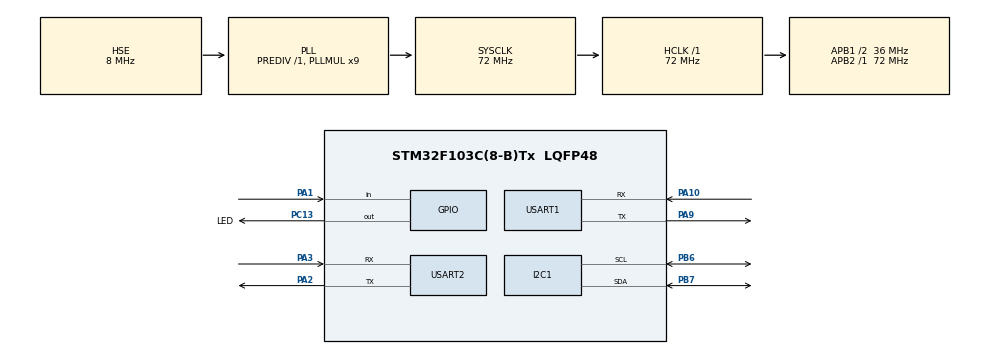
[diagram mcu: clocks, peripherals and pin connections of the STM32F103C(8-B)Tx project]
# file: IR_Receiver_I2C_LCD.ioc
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Mcu.Family=STM32F1
Mcu.Name=STM32F103C(8-B)Tx
Mcu.Package=LQFP48
NVIC.PriorityGroup=NVIC_PRIORITYGROUP_4
PA1.Signal=GPIO_Input
PA10.Mode=Asynchronous
PA10.Signal=USART1_RX
PA13.Mode=Serial_Wire
PA13.Signal=SYS_JTMS-SWDIO
PA14.Mode=Serial_Wire
PA14.Signal=SYS_JTCK-SWCLK
PA2.Mode=Asynchronous
PA2.Signal=USART2_TX
PA3.Mode=Asynchronous
PA3.Signal=USART2_RX
PA9.Mode=Asynchronous
PA9.Signal=USART1_TX
PB6.Mode=I2C
PB6.Signal=I2C1_SCL
PB7.Mode=I2C
PB7.Signal=I2C1_SDA
PC13-TAMPER-RTC.GPIO_Label=LED
PC13-TAMPER-RTC.Signal=GPIO_Output
PD0-OSC_IN.Mode=HSE-External-Oscillator
PD0-OSC_IN.Signal=RCC_OSC_IN
PD1-OSC_OUT.Mode=HSE-External-Oscillator
PD1-OSC_OUT.Signal=RCC_OSC_OUT
ProjectManager.HeapSize=0x200
ProjectManager.StackSize=0x400
ProjectManager.TargetToolchain=SW4STM32
RCC.AHBFreq_Value=72000000
RCC.APB1CLKDivider=RCC_HCLK_DIV2
RCC.APB1Freq_Value=36000000
RCC.APB1TimFreq_Value=72000000
RCC.APB2Freq_Value=72000000
RCC.APB2TimFreq_Value=72000000
RCC.HCLKFreq_Value=72000000
RCC.PLLMUL=RCC_PLL_MUL9
RCC.PLLSourceVirtual=RCC_PLLSOURCE_HSE
RCC.SYSCLKFreq_VALUE=72000000
RCC.SYSCLKSource=RCC_SYSCLKSOURCE_PLLCLK
RCC.USBFreq_Value=72000000
USART1.VirtualMode=VM_ASYNC
USART2.VirtualMode=VM_ASYNC
board=custom

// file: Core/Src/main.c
/* USER CODE BEGIN Header */
/**
  ******************************************************************************
  * @file           : main.c
  * @brief          : Main program body
  ******************************************************************************
  * @attention
  *
  * <h2><center>&copy; Copyright (c) 2021 STMicroelectronics.
  * All rights reserved.</center></h2>
  *
  * This software component is licensed by ST under BSD 3-Clause license,
  * the "License"; You may not use this file except in compliance with the
  * License. You may obtain a copy of the License at:
  *                        opensource.org/licenses/BSD-3-Clause
  *
  ******************************************************************************
  */
/* USER CODE END Header */
#include "main.h"

/* USER CODE BEGIN Includes */
//#include "i2c-lcd.h"
#include "dwt_stm32_delay.h"
#include "lcd_userConf.h"
#include "lcd_i2cModule.h"
#include "ESP8266_HAL.h"

/* USER CODE END Includes */

I2C_HandleTypeDef hi2c1;

UART_HandleTypeDef huart1;
UART_HandleTypeDef huart2;

void SystemClock_Config(void);
static void MX_GPIO_Init(void);
static void MX_I2C1_Init(void);
static void MX_USART2_UART_Init(void);
static void MX_USART1_UART_Init(void);

/* USER CODE BEGIN 0 */

uint32_t IR = 0;
uint8_t count = 0;

uint32_t receive_data (void)
{
	uint32_t code=0;

		  /* The START Sequence begin here
	   * there will be a pulse of 9ms LOW and
	   * than 4.5 ms space (HIGH)
	   */
	  while (!(HAL_GPIO_ReadPin (GPIOA, GPIO_PIN_1)));  // wait for the pin to go high.. 9ms LOW

	  while ((HAL_GPIO_ReadPin (GPIOA, GPIO_PIN_1)));  // wait for the pin to go low.. 4.5ms HIGH

	  /* START of FRAME ends here*/

	  /* DATA Reception
	   * We are only going to check the SPACE after 562.5us pulse
	   * if the space is 562.5us, the bit indicates '0'
	   * if the space is around 1.6ms, the bit is '1'
	   */

	  for (int i=0; i<32; i++)
	  {
		  count=0;

		  while (!(HAL_GPIO_ReadPin (GPIOA, GPIO_PIN_1))); // wait for pin to go high.. this is 562.5us LOW

		  while ((HAL_GPIO_ReadPin (GPIOA, GPIO_PIN_1)))  // count the space length while the pin is high
		  {
			  count++;
			  DWT_Delay_us(100);
		  }

		  if (count > 12) // if the space is more than 1.2 ms
		  {
			  code |= (1UL << (31-i));   // write 1
		  }

		  else code &= ~(1UL << (31-i));  // write 0
	  }

		return code;
}

void convert_code (uint32_t code)
{
	LCD_SetCursor(1,1);
	char buffer[20];
	IR = code;
	sprintf(buffer,"Code = %X ",code);
	LCD_Send_String(buffer,STR_NOSLIDE);
	LCD_SetCursor(2,1);

}

uint32_t data;

/* USER CODE END 0 */

int main(void)
{

  /* MCU Configuration--------------------------------------------------------*/

  /* Reset of all peripherals, Initializes the Flash interface and the Systick. */
  HAL_Init();

  /* Configure the system clock */
  SystemClock_Config();

  /* Initialize all configured peripherals */
  MX_GPIO_Init();
  MX_I2C1_Init();
  MX_USART2_UART_Init();
  MX_USART1_UART_Init();
  /* USER CODE BEGIN 2 */
  ESP_Init("ORBI07","LMlm5m**");
  DWT_Delay_Init();
  LCD_Init();
  LCD_i2cDeviceCheck();
  LCD_BackLight(LCD_BL_ON);
  LCD_SetCursor(1,1);
  LCD_Send_String("IR DECODER",STR_NOSLIDE);

  /* USER CODE END 2 */

  /* Infinite loop */
  while (1)
  {

    /* USER CODE BEGIN 3 */
	  while(HAL_GPIO_ReadPin(GPIOA,GPIO_PIN_1))
	  {
		  Server_Start();//wachten tot de pin laag wordt
	  }

	  data = receive_data();
	  convert_code(data); 	//converteerd de hex naar een waarde

	  LCD_Clear();
  }
  /* USER CODE END 3 */
}

void SystemClock_Config(void)
{
  RCC_OscInitTypeDef RCC_OscInitStruct = {0};
  RCC_ClkInitTypeDef RCC_ClkInitStruct = {0};

  /** Initializes the RCC Oscillators according to the specified parameters
  * in the RCC_OscInitTypeDef structure.
  */
  RCC_OscInitStruct.OscillatorType = RCC_OSCILLATORTYPE_HSE;
  RCC_OscInitStruct.HSEState = RCC_HSE_ON;
  RCC_OscInitStruct.HSEPredivValue = RCC_HSE_PREDIV_DIV1;
  RCC_OscInitStruct.HSIState = RCC_HSI_ON;
  RCC_OscInitStruct.PLL.PLLState = RCC_PLL_ON;
  RCC_OscInitStruct.PLL.PLLSource = RCC_PLLSOURCE_HSE;
  RCC_OscInitStruct.PLL.PLLMUL = RCC_PLL_MUL9;
  if (HAL_RCC_OscConfig(&RCC_OscInitStruct) != HAL_OK)
  {
    Error_Handler();
  }
  /** Initializes the CPU, AHB and APB buses clocks
  */
  RCC_ClkInitStruct.ClockType = RCC_CLOCKTYPE_HCLK|RCC_CLOCKTYPE_SYSCLK
                              |RCC_CLOCKTYPE_PCLK1|RCC_CLOCKTYPE_PCLK2;
  RCC_ClkInitStruct.SYSCLKSource = RCC_SYSCLKSOURCE_PLLCLK;
  RCC_ClkInitStruct.AHBCLKDivider = RCC_SYSCLK_DIV1;
  RCC_ClkInitStruct.APB1CLKDivider = RCC_HCLK_DIV2;
  RCC_ClkInitStruct.APB2CLKDivider = RCC_HCLK_DIV1;

  if (HAL_RCC_ClockConfig(&RCC_ClkInitStruct, FLASH_LATENCY_2) != HAL_OK)
  {
    Error_Handler();
  }
}

static void MX_I2C1_Init(void)
{

  hi2c1.Instance = I2C1;
  hi2c1.Init.ClockSpeed = 100000;
  hi2c1.Init.DutyCycle = I2C_DUTYCYCLE_2;
  hi2c1.Init.OwnAddress1 = 0;
  hi2c1.Init.AddressingMode = I2C_ADDRESSINGMODE_7BIT;
  hi2c1.Init.DualAddressMode = I2C_DUALADDRESS_DISABLE;
  hi2c1.Init.OwnAddress2 = 0;
  hi2c1.Init.GeneralCallMode = I2C_GENERALCALL_DISABLE;
  hi2c1.Init.NoStretchMode = I2C_NOSTRETCH_DISABLE;
  if (HAL_I2C_Init(&hi2c1) != HAL_OK)
  {
    Error_Handler();
  }

}

static void MX_USART1_UART_Init(void)
{

  huart1.Instance = USART1;
  huart1.Init.BaudRate = 115200;
  huart1.Init.WordLength = UART_WORDLENGTH_8B;
  huart1.Init.StopBits = UART_STOPBITS_1;
  huart1.Init.Parity = UART_PARITY_NONE;
  huart1.Init.Mode = UART_MODE_TX_RX;
  huart1.Init.HwFlowCtl = UART_HWCONTROL_NONE;
  huart1.Init.OverSampling = UART_OVERSAMPLING_16;
  if (HAL_UART_Init(&huart1) != HAL_OK)
  {
    Error_Handler();
  }

}

static void MX_USART2_UART_Init(void)
{

  huart2.Instance = USART2;
  huart2.Init.BaudRate = 115200;
  huart2.Init.WordLength = UART_WORDLENGTH_8B;
  huart2.Init.StopBits = UART_STOPBITS_1;
  huart2.Init.Parity = UART_PARITY_NONE;
  huart2.Init.Mode = UART_MODE_TX_RX;
  huart2.Init.HwFlowCtl = UART_HWCONTROL_NONE;
  huart2.Init.OverSampling = UART_OVERSAMPLING_16;
  if (HAL_UART_Init(&huart2) != HAL_OK)
  {
    Error_Handler();
  }

}

static void MX_GPIO_Init(void)
{
  GPIO_InitTypeDef GPIO_InitStruct = {0};

  /* GPIO Ports Clock Enable */
  __HAL_RCC_GPIOC_CLK_ENABLE();
  __HAL_RCC_GPIOD_CLK_ENABLE();
  __HAL_RCC_GPIOA_CLK_ENABLE();
  __HAL_RCC_GPIOB_CLK_ENABLE();

  /*Configure GPIO pin Output Level */
  HAL_GPIO_WritePin(LED_GPIO_Port, LED_Pin, GPIO_PIN_RESET);

  /*Configure GPIO pin : LED_Pin */
  GPIO_InitStruct.Pin = LED_Pin;
  GPIO_InitStruct.Mode = GPIO_MODE_OUTPUT_PP;
  GPIO_InitStruct.Pull = GPIO_NOPULL;
  GPIO_InitStruct.Speed = GPIO_SPEED_FREQ_LOW;
  HAL_GPIO_Init(LED_GPIO_Port, &GPIO_InitStruct);

  /*Configure GPIO pin : PA1 */
  GPIO_InitStruct.Pin = GPIO_PIN_1;
  GPIO_InitStruct.Mode = GPIO_MODE_INPUT;
  GPIO_InitStruct.Pull = GPIO_NOPULL;
  HAL_GPIO_Init(GPIOA, &GPIO_InitStruct);

}

void Error_Handler(void)
{
}

/************************ (C) COPYRIGHT STMicroelectronics *****END OF FILE****/
